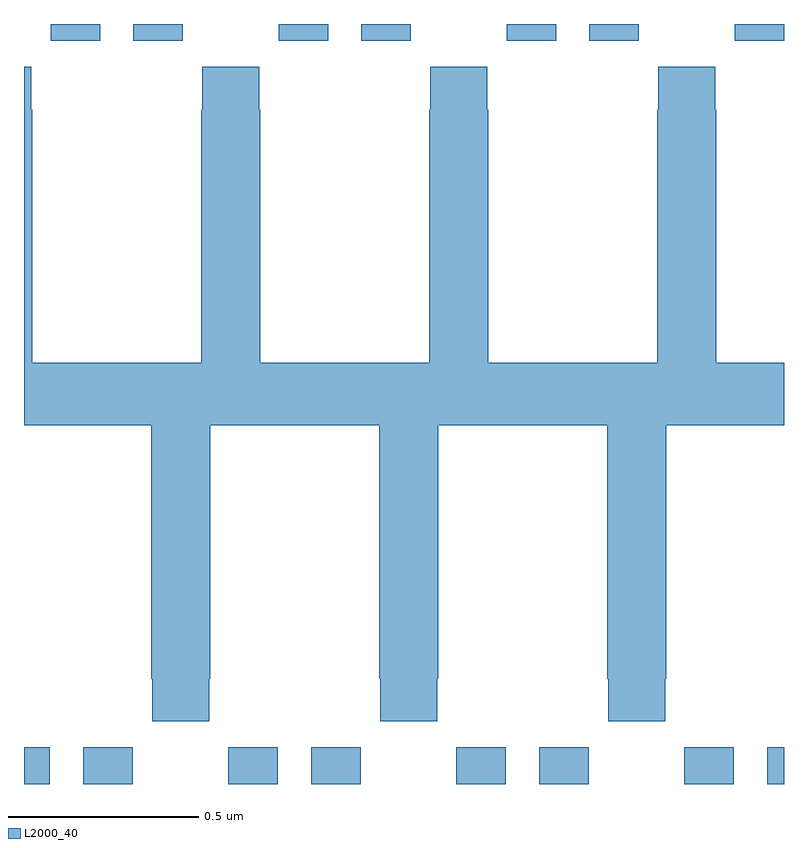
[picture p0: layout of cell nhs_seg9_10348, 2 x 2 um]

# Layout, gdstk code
import gdstk
lib = gdstk.Library(unit=1e-6, precision=1e-09)
def R(c, l, rs):  # rectangles x0, y0, x1, y1
    for r in rs: c.add(gdstk.rectangle(r[:2], r[2:], *l))
def P(c, l, *ps):  # polygons
    for p in ps: c.add(gdstk.Polygon(p, *l))
L2000_40 = (2000, 40)

nhs_seg9_10348 = lib.new_cell('nhs_seg9_10348')
R(nhs_seg9_10348, L2000_40, [(242,1171.5,242.068,1171.597), (242.156,1171.5,242.286,1171.597), (242.538,1171.5,242.668,1171.597), (242.756,1171.5,242.886,1171.597), (243.138,1171.5,243.268,1171.597), (243.356,1171.5,243.486,1171.597), (243.738,1171.5,243.868,1171.597), (243.956,1171.5,244,1171.597), (242.07,1173.456,242.2,1173.5), (242.288,1173.456,242.418,1173.5), (242.67,1173.456,242.8,1173.5), (242.888,1173.456,243.018,1173.5), (243.27,1173.456,243.4,1173.5), (243.488,1173.456,243.618,1173.5), (243.87,1173.456,244,1173.5)])
P(nhs_seg9_10348, L2000_40, [(242.487,1171.777),(242.49,1171.777),(242.49,1172.444),(242.935,1172.444),(242.935,1171.777),(242.937,1171.777),(242.937,1171.665),(243.087,1171.665),(243.087,1171.777),(243.09,1171.777),(243.09,1172.444),(243.535,1172.444),(243.535,1171.777),(243.537,1171.777),(243.537,1171.665),(243.687,1171.665),(243.687,1171.777),(243.69,1171.777),(243.69,1172.444),(244,1172.444),(244,1172.608),(243.822,1172.608),(243.822,1173.275),(243.819,1173.275),(243.819,1173.388),(243.669,1173.388),(243.669,1173.275),(243.667,1173.275),(243.667,1172.608),(243.222,1172.608),(243.222,1173.275),(243.219,1173.275),(243.219,1173.388),(243.069,1173.388),(243.069,1173.275),(243.067,1173.275),(243.067,1172.608),(242.622,1172.608),(242.622,1173.275),(242.619,1173.275),(242.619,1173.388),(242.469,1173.388),(242.469,1173.275),(242.467,1173.275),(242.467,1172.608),(242.022,1172.608),(242.022,1173.275),(242.019,1173.275),(242.019,1173.388),(242,1173.388),(242,1172.444),(242.335,1172.444),(242.335,1171.777),(242.337,1171.777),(242.337,1171.665),(242.487,1171.665)])

lib.write_gds('nhs_seg9_10348.gds')
